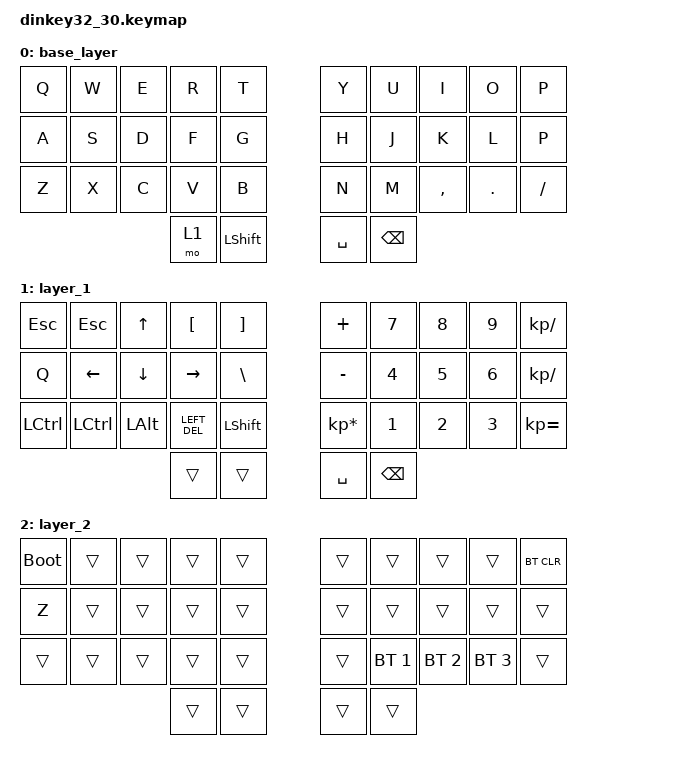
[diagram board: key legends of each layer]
/*
 * Copyright (c) 2021 The ZMK Contributors
 *
 * SPDX-License-Identifier: MIT
 */

#include <behaviors.dtsi>
#include <dt-bindings/zmk/bt.h>
#include <dt-bindings/zmk/keys.h>

/ {
    combos {
        compatible = "zmk,combos";

        combo_lower {
            bindings = <&mo 2>;
            key-positions = <24 30>;
            layers = <0>;
        };

        combo_ent {
            bindings = <&kp ENTER>;
            key-positions = <33 25>;
            layers = <0>;
        };

        combo_tab {
            bindings = <&kp TAB>;
            key-positions = <1 11>;
            layers = <0>;
        };

        combo_ctrl {
            bindings = <&kp LEFT_CONTROL>;
            key-positions = <11 21>;
            layers = <0>;
        };

        combo_bcspc {
            bindings = <&kp BACKSPACE>;
            key-positions = <22 23>;
            layers = <0>;
        };

        combo_ent2 {
            bindings = <&kp ENTER>;
            key-positions = <23 24>;
            layers = <0>;
        };

        combo_undscore {
            bindings = <&kp MINUS>;
            key-positions = <5 15>;
            layers = <0>;
        };

        combo_quote {
            bindings = <&kp APOS>;
            key-positions = <6 16>;
            layers = <0>;
        };

        combo_lprnth {
            bindings = <&kp LEFT_PARENTHESIS>;
            key-positions = <7 17>;
            layers = <0>;
        };

        combo_rprnth {
            bindings = <&kp RIGHT_PARENTHESIS>;
            key-positions = <8 18>;
            layers = <0>;
        };

        combo_0 {
            bindings = <&kp NUMBER_0>;
            key-positions = <16 26>;
            layers = <1>;
        };

        combo_alt {
            bindings = <&kp LEFT_ALT>;
            key-positions = <2 12>;
            layers = <0>;
        };
        combo_exl {
            bindings = <&kp EXCL>;
            key-positions = <16 26>;
            layers = <0>;
        };
        combo_quest {
            bindings = <&kp SLASH>;
            key-positions = <17 27>;
            layers = <0>;
        };
        combo_quest {
            bindings = <&kp SEMI>;
            key-positions = <18 28>;
            layers = <0>;
        };
    };

    keymap {
        compatible = "zmk,keymap";

       

        base_layer {
            bindings = <
    &kp Q  &kp W  &kp E  &kp R           &kp T      &kp Y          &kp U      &kp I    &kp O      &kp P
    &kp A  &kp S  &kp D  &kp F           &kp G      &kp H          &kp J      &kp K    &kp L   &kp P
    &kp Z  &kp X  &kp C  &kp V           &kp B      &kp N          &kp M  &kp COMMA  &kp DOT  &kp SLASH
                     &mo 1  &kp LEFT_SHIFT  &kp SPACE  &kp BACKSPACE
            >;
        };

        layer_1 {
            bindings = <
    &kp ESCAPE        &kp ESCAPE        &kp UP_ARROW   &kp LEFT_BRACKET  &kp RIGHT_BRACKET               &kp PLUS   &kp NUMBER_7  &kp NUMBER_8  &kp NUMBER_9  &kp KP_DIVIDE
    &kp Q             &kp LEFT          &kp DOWN       &kp RIGHT         &kp BSLH                        &kp MINUS   &kp NUMBER_4  &kp NUMBER_5  &kp NUMBER_6  &kp KP_DIVIDE
    &kp LEFT_CONTROL  &kp LEFT_CONTROL  &kp LEFT_ALT   &kp LEFT_DEL      &kp LEFT_SHIFT                  &kp KP_MULTIPLY   &kp NUMBER_1  &kp NUMBER_2  &kp NUMBER_3  &kp KP_EQUAL
                                                                         &trans            &trans        &kp SPACE  &kp BACKSPACE
            >;
        };

        layer_2 {
            bindings = <
    &bootloader  &trans  &trans  &trans  &trans  &trans        &trans        &trans        &trans      &bt BT_CLR
    &kp Z  &trans  &trans  &trans  &trans  &trans        &trans        &trans        &trans      &trans
    &trans  &trans  &trans  &trans  &trans  &trans  &bt BT_SEL 1  &bt BT_SEL 2  &bt BT_SEL 3      &trans
                             &trans  &trans  &trans        &trans
            >;
        };
    };
};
